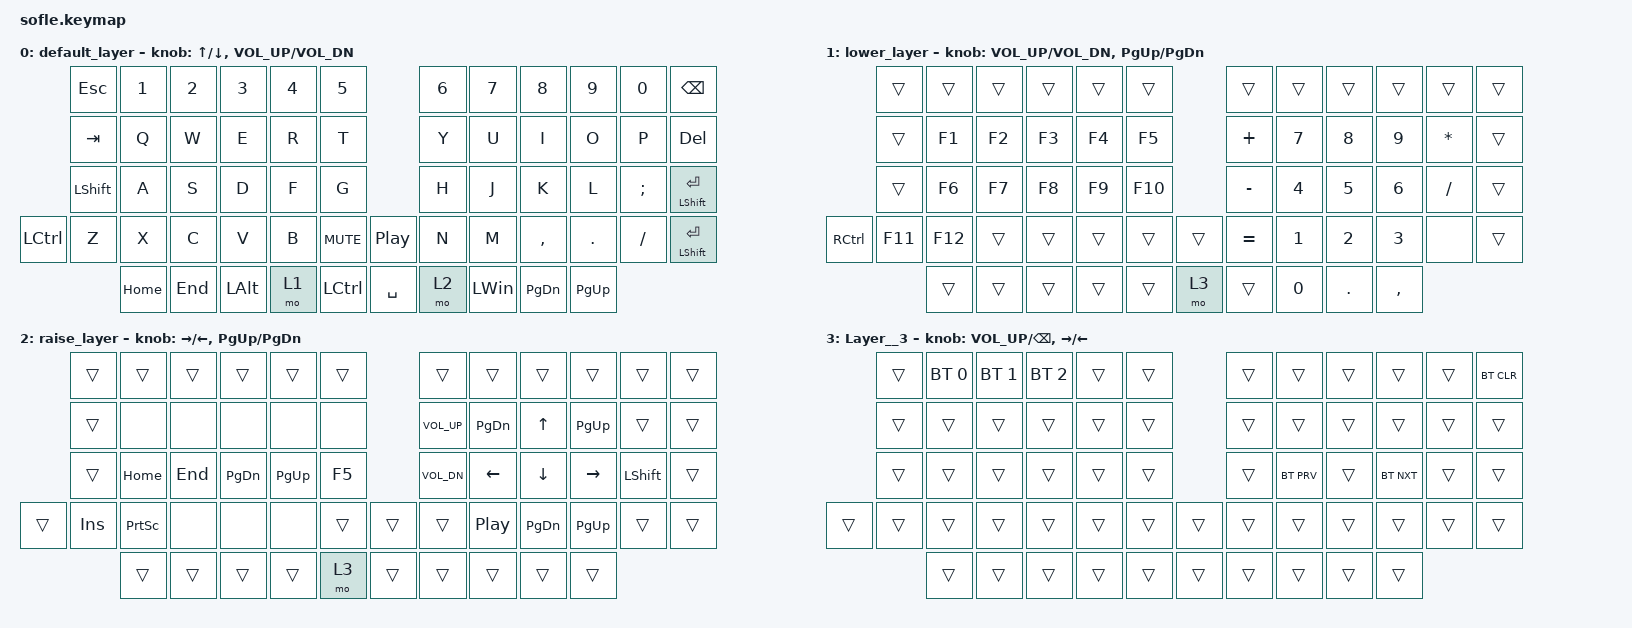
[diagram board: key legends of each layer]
/*
 * Copyright (c) 2020 The ZMK Contributors
 *
 * SPDX-License-Identifier: MIT
 */

#include <behaviors.dtsi>
#include <dt-bindings/zmk/keys.h>
#include <dt-bindings/zmk/bt.h>

/ {
    behaviors {
    };

    combos {
        compatible = "zmk,combos";

        U_I {
            bindings = <&kp DOUBLE_QUOTES>;
            key-positions = <19 20>;
        };

        I_O {
            bindings = <&kp SINGLE_QUOTE>;
            key-positions = <21 20>;
        };

        O_P {
            bindings = <&kp QUESTION>;
            key-positions = <22 21>;
        };

        J_K {
            bindings = <&kp BACKSPACE>;
            key-positions = <31 32>;
        };

        K_L {
            bindings = <&kp LEFT_CONTROL>;
            key-positions = <32 33>;
        };

        L_Semi {
            bindings = <&kp BACKSLASH>;
            key-positions = <33 34>;
        };

        M_Coma {
            bindings = <&kp RIGHT_PARENTHESIS>;
            key-positions = <45 46>;
        };

        Coma_Dot {
            bindings = <&kp RIGHT_BRACKET>;
            key-positions = <47 46>;
        };

        Dot_Backslash {
            bindings = <&kp RIGHT_BRACE>;
            key-positions = <47 48>;
        };

        Q_W {
            bindings = <&kp EXCLAMATION>;
            key-positions = <13 14>;
        };

        W_E {
            bindings = <&kp PERCENT>;
            key-positions = <14 15>;
        };

        E_R {
            bindings = <&kp UNDER>;
            key-positions = <15 16>;
        };

        A_S {
            bindings = <&kp AMPS>;
            key-positions = <25 26>;
        };

        S_D {
            bindings = <&kp ESC>;
            key-positions = <26 27>;
        };

        D_F {
            bindings = <&kp COLON>;
            key-positions = <27 28>;
        };

        Z_X {
            bindings = <&kp LEFT_BRACE>;
            key-positions = <37 38>;
        };

        X_C {
            bindings = <&kp LEFT_BRACKET>;
            key-positions = <38 39>;
        };

        C_V {
            bindings = <&kp LEFT_PARENTHESIS>;
            key-positions = <40 39>;
        };

        U_I_O {
            bindings = <&kp CARET>;
            key-positions = <19 20 21>;
        };

        I_O_P {
            bindings = <&kp TILDE>;
            key-positions = <20 21 22>;
        };

        W_E_R {
            bindings = <&kp DOLLAR>;
            key-positions = <14 15 16>;
        };

        Q_W_E {
            bindings = <&kp GRAVE>;
            key-positions = <15 13 14>;
        };

        M_Coma_Dot {
            bindings = <&kp ASTRK>;
            key-positions = <45 46 47>;
        };

        Coma_Dot_Slash {
            bindings = <&kp SLASH>;
            key-positions = <46 47 48>;
        };

        Z_X_C {
            bindings = <&kp PIPE>;
            key-positions = <37 38 39>;
        };

        R_T {
            bindings = <&kp EQUAL>;
            key-positions = <17 16>;
        };

        F_G {
            bindings = <&kp HASH>;
            key-positions = <28 29>;
        };

        V_B {
            bindings = <&kp LESS_THAN>;
            key-positions = <41 40>;
        };

        Y_U {
            bindings = <&kp PLUS>;
            key-positions = <18 19>;
        };

        H_J {
            bindings = <&kp MINUS>;
            key-positions = <30 31>;
        };

        N_M {
            bindings = <&kp GREATER_THAN>;
            key-positions = <44 45>;
        };

        S_D_F {
            bindings = <&kp HOME>;
            key-positions = <26 28 27>;
        };

        J_K_L {
            bindings = <&kp END>;
            key-positions = <31 32 33>;
        };

        A_S_D {
            bindings = <&kp CAPSLOCK>;
            key-positions = <25 27 26>;
        };
    };

    keymap {
        compatible = "zmk,keymap";

        default_layer {
            // ------------------------------------------------------------------------------------------------------------
            // |  `    |  1  |  2  |  3   |  4   |  5   |                   |  6   |  7    |  8    |  9   |   0   |       |
            // |  ESC  |  Q  |  W  |  E   |  R   |  T   |                   |  Y   |  U    |  I    |  O   |   P   | BKSPC |
            // |  TAB  |  A  |  S  |  D   |  F   |  G   |                   |  H   |  J    |  K    |  L   |   ;   |   '   |
            // | SHIFT |  Z  |  X  |  C   |  V   |  B   |  MUTE  |  |       |  N   |  M    |  ,    |  .   |   /   | SHIFT |
            //               | GUI | ALT  | CTRL | LOWER|  ENTER |  | SPACE | RAISE| CTRL  | ALT   | GUI  |

            bindings = <
          &kp ESC  &kp NUMBER_1  &kp NUMBER_2  &kp NUMBER_3  &kp NUMBER_4  &kp NUMBER_5                                      &kp NUMBER_6  &kp NUMBER_7   &kp NUMBER_8  &kp NUMBER_9  &kp NUMBER_0         &kp BACKSPACE
          &kp TAB         &kp Q         &kp W         &kp E         &kp R         &kp T                                             &kp Y         &kp U          &kp I         &kp O         &kp P               &kp DEL
   &kp LEFT_SHIFT         &kp A         &kp S         &kp D         &kp F         &kp G                                             &kp H         &kp J          &kp K         &kp L      &kp SEMI  &mt LEFT_SHIFT ENTER
 &kp LEFT_CONTROL         &kp Z         &kp X         &kp C         &kp V         &kp B        &kp C_MUTE  &kp C_PLAY_PAUSE         &kp N         &kp M      &kp COMMA       &kp DOT      &kp FSLH  &mt LEFT_SHIFT ENTER
                                     &kp HOME       &kp END  &kp LEFT_ALT         &mo 1  &kp LEFT_CONTROL         &kp SPACE         &mo 2  &kp LEFT_WIN  &kp PAGE_DOWN   &kp PAGE_UP
            >;

            sensor-bindings = <&inc_dec_kp UP DOWN_ARROW &inc_dec_kp C_VOL_UP C_VOL_DN>;
        };

        lower_layer {
            // TODO: Some binds are waiting for shifted keycode support.
            // ------------------------------------------------------------------------------------------------------------
            // |       |  F1 |  F2 |  F3  |  F4  |  F5  |                   |  F6  |  F7   |  F8   |  F9  |  F10  |  F11  |
            // | `     |   1 |   2 |   3  |   4  |   5  |                   |   6  |   7   |   8   |   9  |    0  |  F12  |
            // |       |  !  |  @  |  #   |  $   |  %   |                   |  ^   |  &    |  *    |  (   |   )   |   |   |
            // |       |  =  |  -  |  +   |  {   |  }   |        |  |       |  [   |  ]    |  ;    |  :   |   \   |       |
            //               |     |      |      |      |        |  |       |      |       |       |      |

            bindings = <
            &trans   &trans   &trans  &trans  &trans   &trans                     &trans        &trans        &trans        &trans        &trans  &trans
            &trans   &kp F1   &kp F2  &kp F3  &kp F4   &kp F5                   &kp PLUS  &kp NUMBER_7  &kp NUMBER_8  &kp NUMBER_9  &kp ASTERISK  &trans
            &trans   &kp F6   &kp F7  &kp F8  &kp F9  &kp F10                  &kp MINUS  &kp NUMBER_4  &kp NUMBER_5  &kp NUMBER_6     &kp SLASH  &trans
 &kp RIGHT_CONTROL  &kp F11  &kp F12  &trans  &trans   &trans  &trans  &trans  &kp EQUAL  &kp NUMBER_1  &kp NUMBER_2  &kp NUMBER_3         &none  &trans
                              &trans  &trans  &trans   &trans  &trans   &mo 3     &trans  &kp NUMBER_0       &kp DOT     &kp COMMA
            >;

            sensor-bindings = <&inc_dec_kp C_VOL_UP C_VOL_DN &inc_dec_kp PG_UP PG_DN>;
        };

        raise_layer {
            // ------------------------------------------------------------------------------------------------------------
            // |BTCLR| BT1  | BT2  |  BT3  |  BT4  |  BT5 |                |      |      |       |      |       |       |
            // |     | INS  | PSCR | GUI   |       |      |                | PGUP |      |   ^   |      |       |       |
            // |     | ALT  | CTRL | SHIFT |       | CAPS |                | PGDN |   <- |   v   |  ->  |  DEL  | BKSPC |
            // |     | UNDO | CUT  | COPY  | PASTE |      |      |  |      |      |      |       |      |       |       |
            //              |      |       |       |      |      |  |      |      |      |       |      |

            bindings = <
 &trans      &trans           &trans         &trans     &trans  &trans                        &trans            &trans         &trans     &trans          &trans  &trans
 &trans       &none            &none          &none      &none   &none                  &kp C_VOL_UP     &kp PAGE_DOWN         &kp UP  &kp PG_UP          &trans  &trans
 &trans    &kp HOME          &kp END  &kp PAGE_DOWN  &kp PG_UP  &kp F5                  &kp C_VOL_DN          &kp LEFT       &kp DOWN  &kp RIGHT  &kp LEFT_SHIFT  &trans
 &trans  &kp INSERT  &kp PRINTSCREEN          &none      &none   &none  &trans  &trans        &trans  &kp C_PLAY_PAUSE  &kp PAGE_DOWN  &kp PG_UP          &trans  &trans
                              &trans         &trans     &trans  &trans   &mo 3  &trans        &trans            &trans         &trans     &trans
            >;

            sensor-bindings = <&inc_dec_kp RIGHT_ARROW LEFT_ARROW &inc_dec_kp PG_UP PG_DN>;
        };

        Layer__3 {
            bindings = <
 &trans  &bt BT_SEL 0  &bt BT_SEL 1  &bt BT_SEL 2  &trans  &trans                  &trans      &trans  &trans      &trans  &trans  &bt BT_CLR
 &trans        &trans        &trans        &trans  &trans  &trans                  &trans      &trans  &trans      &trans  &trans      &trans
 &trans        &trans        &trans        &trans  &trans  &trans                  &trans  &bt BT_PRV  &trans  &bt BT_NXT  &trans      &trans
 &trans        &trans        &trans        &trans  &trans  &trans  &trans  &trans  &trans      &trans  &trans      &trans  &trans      &trans
                             &trans        &trans  &trans  &trans  &trans  &trans  &trans      &trans  &trans      &trans
            >;

            sensor-bindings = <&inc_dec_kp C_VOL_UP BACKSPACE &inc_dec_kp RIGHT LEFT>;
        };
    };
};
